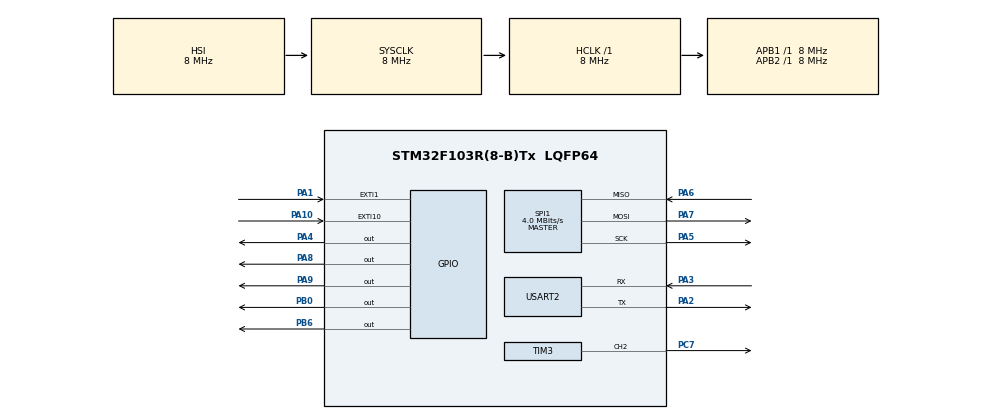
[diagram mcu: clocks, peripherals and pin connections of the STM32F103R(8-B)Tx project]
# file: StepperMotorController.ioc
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Dma.Request0=SPI1_RX
Dma.Request1=SPI1_TX
Dma.SPI1_RX.0.Direction=DMA_PERIPH_TO_MEMORY
Dma.SPI1_RX.0.Instance=DMA1_Channel2
Dma.SPI1_RX.0.MemDataAlignment=DMA_MDATAALIGN_BYTE
Dma.SPI1_RX.0.MemInc=DMA_MINC_ENABLE
Dma.SPI1_RX.0.Mode=DMA_NORMAL
Dma.SPI1_RX.0.PeriphDataAlignment=DMA_PDATAALIGN_BYTE
Dma.SPI1_RX.0.PeriphInc=DMA_PINC_DISABLE
Dma.SPI1_RX.0.Priority=DMA_PRIORITY_HIGH
Dma.SPI1_TX.1.Direction=DMA_MEMORY_TO_PERIPH
Dma.SPI1_TX.1.Instance=DMA1_Channel3
Dma.SPI1_TX.1.MemDataAlignment=DMA_MDATAALIGN_BYTE
Dma.SPI1_TX.1.MemInc=DMA_MINC_ENABLE
Dma.SPI1_TX.1.Mode=DMA_NORMAL
Dma.SPI1_TX.1.PeriphDataAlignment=DMA_PDATAALIGN_BYTE
Dma.SPI1_TX.1.PeriphInc=DMA_PINC_DISABLE
Dma.SPI1_TX.1.Priority=DMA_PRIORITY_HIGH
Mcu.Family=STM32F1
Mcu.Name=STM32F103R(8-B)Tx
Mcu.Package=LQFP64
NVIC.DMA1_Channel2_IRQn=true\:0\:0\:false\:false\:true\:false\:true\:true
NVIC.DMA1_Channel3_IRQn=true\:0\:0\:false\:false\:true\:false\:true\:true
NVIC.EXTI15_10_IRQn=true\:0\:0\:false\:false\:true\:true\:true\:true
NVIC.PriorityGroup=NVIC_PRIORITYGROUP_4
NVIC.SPI1_IRQn=true\:0\:0\:false\:false\:true\:true\:true\:true
NVIC.TIM3_IRQn=true\:0\:0\:false\:false\:true\:true\:true\:true
NVIC.USART2_IRQn=true\:0\:0\:false\:false\:true\:true\:true\:true
PA1.Signal=GPXTI1
PA10.GPIO_ModeDefaultEXTI=GPIO_MODE_IT_FALLING
PA10.Signal=GPXTI10
PA2.Mode=Asynchronous
PA2.Signal=USART2_TX
PA3.Mode=Asynchronous
PA3.Signal=USART2_RX
PA4.Signal=GPIO_Output
PA5.Mode=Full_Duplex_Master
PA5.Signal=SPI1_SCK
PA6.Mode=Full_Duplex_Master
PA6.Signal=SPI1_MISO
PA7.Mode=Full_Duplex_Master
PA7.Signal=SPI1_MOSI
PA8.Signal=GPIO_Output
PA9.Signal=GPIO_Output
PB0.Signal=GPIO_Output
PB6.Signal=GPIO_Output
PC7.Signal=S_TIM3_CH2
ProjectManager.HeapSize=0x200
ProjectManager.StackSize=0x400
ProjectManager.TargetToolchain=STM32CubeIDE
RCC.AHBFreq_Value=8000000
RCC.APB1Freq_Value=8000000
RCC.APB1TimFreq_Value=8000000
RCC.APB2Freq_Value=8000000
RCC.APB2TimFreq_Value=8000000
RCC.HCLKFreq_Value=8000000
RCC.SYSCLKFreq_VALUE=8000000
RCC.USBFreq_Value=8000000
SH.S_TIM3_CH2.0=TIM3_CH2,PWM Generation2 CH2
SPI1.CalculateBaudRate=4.0 MBits/s
SPI1.Direction=SPI_DIRECTION_2LINES
SPI1.Mode=SPI_MODE_MASTER
SPI1.VirtualType=VM_MASTER
TIM3.AutoReloadPreload=TIM_AUTORELOAD_PRELOAD_DISABLE
TIM3.Channel-PWM\ Generation2\ CH2=TIM_CHANNEL_2
TIM3.ClockDivision=TIM_CLOCKDIVISION_DIV1
TIM3.OCFastMode_PWM-PWM\ Generation2\ CH2=TIM_OCFAST_DISABLE
TIM3.OCMode_PWM-PWM\ Generation2\ CH2=TIM_OCMODE_PWM1
TIM3.Period=100
USART2.VirtualMode=VM_ASYNC
VP_SYS_VS_ND.Mode=No_Debug
board=custom

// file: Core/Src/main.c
/* USER CODE BEGIN Header */
/**
  ******************************************************************************
  * @file           : main.c
  * @brief          : Main program body
  ******************************************************************************
  * @attention
  *
  * Copyright (c) 2025 STMicroelectronics.
  * All rights reserved.
  *
  * This software is licensed under terms that can be found in the LICENSE file
  * in the root directory of this software component.
  * If no LICENSE file comes with this software, it is provided AS-IS.
  *
  ******************************************************************************
  */
/* USER CODE END Header */
#include <controller.h>
#include "main.h"

/* USER CODE BEGIN Includes */
#include <stdlib.h>
#include <stdio.h>
#include <IrqHandlers.h>
/* USER CODE END Includes */

/* USER CODE BEGIN PM */
#define TRANSFER_WAIT 1
#define TRANSFER_COMPLETE 0
#define TRANSFER_ERROR 2
/* USER CODE END PM */

SPI_HandleTypeDef hspi1;
DMA_HandleTypeDef hdma_spi1_rx;
DMA_HandleTypeDef hdma_spi1_tx;

TIM_HandleTypeDef htim3;

UART_HandleTypeDef huart2;

/* USER CODE BEGIN PV */
extern struct IrqHandlers irqHandlers;
__IO uint32_t wTransferState = TRANSFER_WAIT;
/* USER CODE END PV */

void SystemClock_Config(void);
static void MX_GPIO_Init(void);
static void MX_DMA_Init(void);
static void MX_TIM3_Init(void);
static void MX_SPI1_Init(void);
static void MX_USART2_UART_Init(void);

int main(void)
{

  /* USER CODE BEGIN 1 */
  setvbuf(stdin, NULL, _IONBF, 0);
  /* USER CODE END 1 */

  /* MCU Configuration--------------------------------------------------------*/

  /* Reset of all peripherals, Initializes the Flash interface and the Systick. */
  HAL_Init();

  /* Configure the system clock */
  SystemClock_Config();

  /* Initialize all configured peripherals */
  MX_GPIO_Init();
  MX_DMA_Init();
  MX_TIM3_Init();
  MX_SPI1_Init();
  MX_USART2_UART_Init();
  /* USER CODE BEGIN 2 */

  //irqHandlers.irq_handlers[0].func=dummy;
  //timIrqHandlers.irq_handlers[0].userptr=NULL;

  irqHandlers.tim3.func = NULL;
  irqHandlers.tim3.userptr = NULL;

  irqHandlers.irq.func = NULL;
  irqHandlers.irq.enabled = 0;

  HAL_GPIO_WritePin(GPIOB, GPIO_PIN_6, GPIO_PIN_SET); //L6474

  //printf("ok\r\n");
  //L6474_create();
  //L6474_move();
  //L6474_run();
  //ENC28J60_test();

  controller *ptr = create_controller();

  /* USER CODE END 2 */

  /* Infinite loop */
  /* USER CODE BEGIN WHILE */
  while(1)
  {
	  update(ptr);

	  //============PIN LAYOUT===============
	  //A1        -  Interrupt
	  //A2		  -  ENC28J60 Led Pin
	  //A3        -  ENC28J60 Chip Select
	  //GND       -
	  //3.3V      -
	  //RST       -
	  //MOSI      -
	  //MISO      -
	  //SCK       -

  }
    /* USER CODE END WHILE */

}

void SystemClock_Config(void)
{
  RCC_OscInitTypeDef RCC_OscInitStruct = {0};
  RCC_ClkInitTypeDef RCC_ClkInitStruct = {0};

  /** Initializes the RCC Oscillators according to the specified parameters
  * in the RCC_OscInitTypeDef structure.
  */
  RCC_OscInitStruct.OscillatorType = RCC_OSCILLATORTYPE_HSI;
  RCC_OscInitStruct.HSIState = RCC_HSI_ON;
  RCC_OscInitStruct.HSICalibrationValue = RCC_HSICALIBRATION_DEFAULT;
  RCC_OscInitStruct.PLL.PLLState = RCC_PLL_NONE;
  if (HAL_RCC_OscConfig(&RCC_OscInitStruct) != HAL_OK)
  {
    Error_Handler();
  }

  /** Initializes the CPU, AHB and APB buses clocks
  */
  RCC_ClkInitStruct.ClockType = RCC_CLOCKTYPE_HCLK|RCC_CLOCKTYPE_SYSCLK
                              |RCC_CLOCKTYPE_PCLK1|RCC_CLOCKTYPE_PCLK2;
  RCC_ClkInitStruct.SYSCLKSource = RCC_SYSCLKSOURCE_HSI;
  RCC_ClkInitStruct.AHBCLKDivider = RCC_SYSCLK_DIV1;
  RCC_ClkInitStruct.APB1CLKDivider = RCC_HCLK_DIV1;
  RCC_ClkInitStruct.APB2CLKDivider = RCC_HCLK_DIV1;

  if (HAL_RCC_ClockConfig(&RCC_ClkInitStruct, FLASH_LATENCY_0) != HAL_OK)
  {
    Error_Handler();
  }
}

static void MX_SPI1_Init(void)
{

  /* SPI1 parameter configuration*/
  hspi1.Instance = SPI1;
  hspi1.Init.Mode = SPI_MODE_MASTER;
  hspi1.Init.Direction = SPI_DIRECTION_2LINES;
  hspi1.Init.DataSize = SPI_DATASIZE_8BIT;
  hspi1.Init.CLKPolarity = SPI_POLARITY_LOW;
  hspi1.Init.CLKPhase = SPI_PHASE_1EDGE;
  hspi1.Init.NSS = SPI_NSS_SOFT;
  hspi1.Init.BaudRatePrescaler = SPI_BAUDRATEPRESCALER_2;
  hspi1.Init.FirstBit = SPI_FIRSTBIT_MSB;
  hspi1.Init.TIMode = SPI_TIMODE_DISABLE;
  hspi1.Init.CRCCalculation = SPI_CRCCALCULATION_DISABLE;
  hspi1.Init.CRCPolynomial = 10;
  if (HAL_SPI_Init(&hspi1) != HAL_OK)
  {
    Error_Handler();
  }

}

static void MX_TIM3_Init(void)
{

  TIM_MasterConfigTypeDef sMasterConfig = {0};
  TIM_OC_InitTypeDef sConfigOC = {0};

  htim3.Instance = TIM3;
  htim3.Init.Prescaler = 0;
  htim3.Init.CounterMode = TIM_COUNTERMODE_UP;
  htim3.Init.Period = 100;
  htim3.Init.ClockDivision = TIM_CLOCKDIVISION_DIV1;
  htim3.Init.AutoReloadPreload = TIM_AUTORELOAD_PRELOAD_DISABLE;
  if (HAL_TIM_PWM_Init(&htim3) != HAL_OK)
  {
    Error_Handler();
  }
  sMasterConfig.MasterOutputTrigger = TIM_TRGO_RESET;
  sMasterConfig.MasterSlaveMode = TIM_MASTERSLAVEMODE_DISABLE;
  if (HAL_TIMEx_MasterConfigSynchronization(&htim3, &sMasterConfig) != HAL_OK)
  {
    Error_Handler();
  }
  sConfigOC.OCMode = TIM_OCMODE_PWM1;
  sConfigOC.Pulse = 0;
  sConfigOC.OCPolarity = TIM_OCPOLARITY_HIGH;
  sConfigOC.OCFastMode = TIM_OCFAST_DISABLE;
  if (HAL_TIM_PWM_ConfigChannel(&htim3, &sConfigOC, TIM_CHANNEL_2) != HAL_OK)
  {
    Error_Handler();
  }
  HAL_TIM_MspPostInit(&htim3);

}

static void MX_USART2_UART_Init(void)
{

  huart2.Instance = USART2;
  huart2.Init.BaudRate = 115200;
  huart2.Init.WordLength = UART_WORDLENGTH_8B;
  huart2.Init.StopBits = UART_STOPBITS_1;
  huart2.Init.Parity = UART_PARITY_NONE;
  huart2.Init.Mode = UART_MODE_TX_RX;
  huart2.Init.HwFlowCtl = UART_HWCONTROL_NONE;
  huart2.Init.OverSampling = UART_OVERSAMPLING_16;
  if (HAL_UART_Init(&huart2) != HAL_OK)
  {
    Error_Handler();
  }

}

static void MX_DMA_Init(void)
{

  /* DMA controller clock enable */
  __HAL_RCC_DMA1_CLK_ENABLE();

  /* DMA interrupt init */
  /* DMA1_Channel2_IRQn interrupt configuration */
  HAL_NVIC_SetPriority(DMA1_Channel2_IRQn, 0, 0);
  HAL_NVIC_EnableIRQ(DMA1_Channel2_IRQn);
  /* DMA1_Channel3_IRQn interrupt configuration */
  HAL_NVIC_SetPriority(DMA1_Channel3_IRQn, 0, 0);
  HAL_NVIC_EnableIRQ(DMA1_Channel3_IRQn);

}

static void MX_GPIO_Init(void)
{
  GPIO_InitTypeDef GPIO_InitStruct = {0};

  /* GPIO Ports Clock Enable */
  __HAL_RCC_GPIOA_CLK_ENABLE();
  __HAL_RCC_GPIOB_CLK_ENABLE();
  __HAL_RCC_GPIOC_CLK_ENABLE();

  /*Configure GPIO pin Output Level */
  HAL_GPIO_WritePin(GPIOA, GPIO_PIN_4|GPIO_PIN_8|GPIO_PIN_9, GPIO_PIN_RESET);

  /*Configure GPIO pin Output Level */
  HAL_GPIO_WritePin(GPIOB, GPIO_PIN_0|GPIO_PIN_6, GPIO_PIN_RESET);

  /*Configure GPIO pin : PA1 */
  GPIO_InitStruct.Pin = GPIO_PIN_1;
  GPIO_InitStruct.Mode = GPIO_MODE_IT_RISING;
  GPIO_InitStruct.Pull = GPIO_NOPULL;
  HAL_GPIO_Init(GPIOA, &GPIO_InitStruct);

  /*Configure GPIO pins : PA4 PA8 PA9 */
  GPIO_InitStruct.Pin = GPIO_PIN_4|GPIO_PIN_8|GPIO_PIN_9;
  GPIO_InitStruct.Mode = GPIO_MODE_OUTPUT_PP;
  GPIO_InitStruct.Pull = GPIO_NOPULL;
  GPIO_InitStruct.Speed = GPIO_SPEED_FREQ_LOW;
  HAL_GPIO_Init(GPIOA, &GPIO_InitStruct);

  /*Configure GPIO pins : PB0 PB6 */
  GPIO_InitStruct.Pin = GPIO_PIN_0|GPIO_PIN_6;
  GPIO_InitStruct.Mode = GPIO_MODE_OUTPUT_PP;
  GPIO_InitStruct.Pull = GPIO_NOPULL;
  GPIO_InitStruct.Speed = GPIO_SPEED_FREQ_LOW;
  HAL_GPIO_Init(GPIOB, &GPIO_InitStruct);

  /*Configure GPIO pin : PA10 */
  GPIO_InitStruct.Pin = GPIO_PIN_10;
  GPIO_InitStruct.Mode = GPIO_MODE_IT_FALLING;
  GPIO_InitStruct.Pull = GPIO_NOPULL;
  HAL_GPIO_Init(GPIOA, &GPIO_InitStruct);

  /* EXTI interrupt init*/
  HAL_NVIC_SetPriority(EXTI15_10_IRQn, 0, 0);
  HAL_NVIC_EnableIRQ(EXTI15_10_IRQn);

}

/* USER CODE BEGIN 4 */
void HAL_SPI_TxRxCpltCallback(SPI_HandleTypeDef *hspi)
{
  wTransferState = TRANSFER_COMPLETE;
}
void HAL_SPI_ErrorCallback(SPI_HandleTypeDef *hspi)
{
  wTransferState = TRANSFER_ERROR;
}
int _write(int file, char *ptr, int len)
{
  (void)file;
  HAL_UART_Transmit(&huart2, ptr, len, 10);
  return len;
}
int _read(int file, char *ptr, int len)
{
  (void)file;
  __HAL_UART_CLEAR_OREFLAG(&huart2);
  HAL_UART_Receive(&huart2, ptr, len, HAL_MAX_DELAY);
  return len;
}

//int __io_getchar(void) {
//    uint8_t ch = 0;
//    __HAL_UART_CLEAR_OREFLAG(&huart2);
//    HAL_UART_Receive(&huart2, (uint8_t *)&ch, 1, HAL_MAX_DELAY);
//    return ch;
//}

/* USER CODE END 4 */

void Error_Handler(void)
{
  __disable_irq();
  while (1)
  {
  }
}
